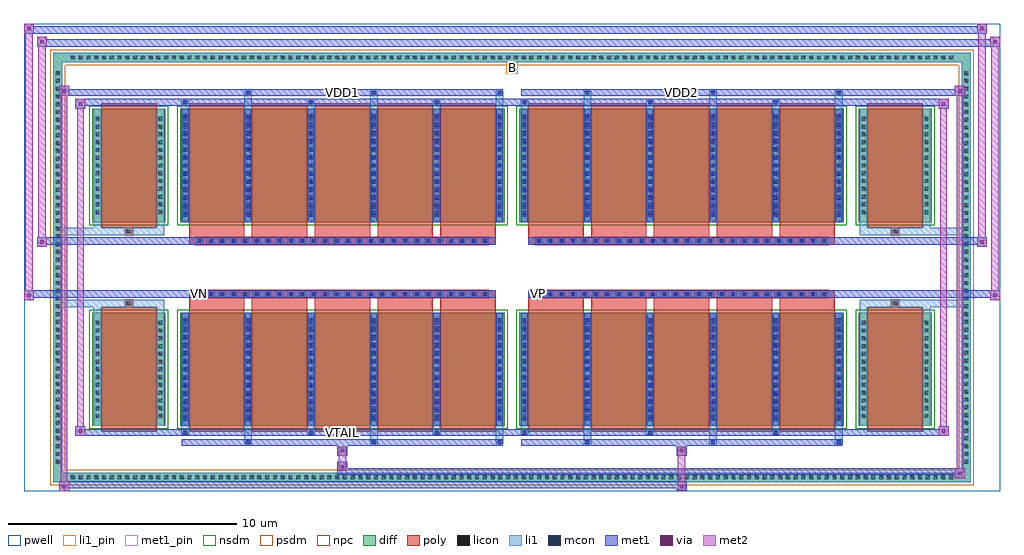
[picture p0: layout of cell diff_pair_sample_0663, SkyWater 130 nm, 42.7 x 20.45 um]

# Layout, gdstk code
import gdstk
lib = gdstk.Library(unit=1e-6, precision=5e-09)
def R(c, l, rs):  # rectangles x0, y0, x1, y1
    for r in rs: c.add(gdstk.rectangle(r[:2], r[2:], *l))
def A(c, l, x, y, w, h, nx, ny, dx, dy):  # array of equal rectangles
    R(c, l, [(x+i*dx, y+j*dy, x+i*dx+w, y+j*dy+h) for i in range(nx) for j in range(ny)])
def P(c, l, *ps):  # polygons
    for p in ps: c.add(gdstk.Polygon(p, *l))
pwell = (64, 44)
diff = (65, 20)
poly = (66, 20)
licon = (66, 44)
li1_pin = (67, 16)
li1 = (67, 20)
mcon = (67, 44)
met1_pin = (68, 16)
met1 = (68, 20)
via = (68, 44)
met2 = (69, 20)
nsdm = (93, 44)
psdm = (94, 20)
npc = (95, 20)

diff_pair_sample_0663 = lib.new_cell('diff_pair_sample_0663')
R(diff_pair_sample_0663, pwell, [(-21.35,-9.79,21.35,10.66), (-18.67,-7.98,-0.01,-0.8), (0.01,-7.98,18.67,-0.8), (-18.67,0.8,-0.01,7.98), (0.01,0.8,18.67,7.98)])
A(diff_pair_sample_0663, diff, -19.415, -9.39, 0.41, 0.41, 114, 2, 0.34, 18.37)
A(diff_pair_sample_0663, diff, -20.08, -8.705, 0.41, 0.41, 1, 51, 0, 0.34)
A(diff_pair_sample_0663, diff, 19.67, -8.705, 0.41, 0.41, 1, 51, 0, 0.34)
R(diff_pair_sample_0663, diff, [(-19.415,-9.39,19.415,-8.98), (-20.08,-8.705,-19.67,8.705), (19.67,-8.705,20.08,8.705), (-18.36,-6.935,-15.16,-1.985), (-14.52,-6.935,-0.32,-1.985), (0.32,-6.935,14.52,-1.985), (15.16,-6.935,18.36,-1.985), (-18.36,1.985,-15.16,6.935), (-14.52,1.985,-0.32,6.935), (0.32,1.985,14.52,6.935), (15.16,1.985,18.36,6.935), (-19.415,8.98,19.415,9.39)])
P(diff_pair_sample_0663, diff, [(20.08,9.39),(-20.08,9.39),(-20.08,-8.98),(-19.67,-8.98),(-19.67,8.98),(19.67,8.98),(19.67,-8.98),(-19.67,-8.98),(-20.08,-8.98),(-20.08,-9.39),(20.08,-9.39)])
A(diff_pair_sample_0663, poly, -14.13, -7.185, 2.42, 5.45, 5, 2, 2.75, 8.92)
A(diff_pair_sample_0663, poly, 0.71, -7.185, 2.42, 5.45, 5, 2, 2.75, 8.92)
A(diff_pair_sample_0663, poly, -14.13, -1.735, 2.42, 0.405, 5, 2, 2.75, 3.065)
A(diff_pair_sample_0663, poly, 0.71, -1.735, 2.42, 0.405, 5, 2, 2.75, 3.065)
A(diff_pair_sample_0663, poly, -13.835, -1.33, 0.33, 0.33, 26, 2, 0.5, 2.33)
A(diff_pair_sample_0663, poly, 1.005, -1.33, 0.33, 0.33, 26, 2, 0.5, 2.33)
R(diff_pair_sample_0663, poly, [(-17.97,-7.185,-15.55,-1.735), (15.55,-7.185,17.97,-1.735), (-16.925,-1.735,-16.595,-1.405), (-16.925,-1.735,-16.595,-1.405), (16.595,-1.735,16.925,-1.405), (16.595,-1.735,16.925,-1.405), (-14.13,-1.33,-0.71,-1), (0.71,-1.33,14.13,-1), (-14.13,1,-0.71,1.33), (0.71,1,14.13,1.33), (-16.925,1.405,-16.595,1.735), (-16.925,1.405,-16.595,1.735), (16.595,1.405,16.925,1.735), (16.595,1.405,16.925,1.735), (-17.97,1.735,-15.55,7.185), (15.55,1.735,17.97,7.185)])
A(diff_pair_sample_0663, licon, -19.295, -9.27, 0.17, 0.17, 114, 2, 0.34, 18.37)
A(diff_pair_sample_0663, licon, -19.96, -8.585, 0.17, 0.17, 1, 51, 0, 0.34)
A(diff_pair_sample_0663, licon, 19.79, -8.585, 0.17, 0.17, 1, 51, 0, 0.34)
A(diff_pair_sample_0663, licon, -18.22, -6.585, 0.17, 0.17, 1, 13, 0, 0.34)
A(diff_pair_sample_0663, licon, -15.47, -6.585, 0.17, 0.17, 1, 13, 0, 0.34)
A(diff_pair_sample_0663, licon, -14.38, -6.585, 0.17, 0.17, 6, 13, 2.75, 0.34)
A(diff_pair_sample_0663, licon, 0.46, -6.585, 0.17, 0.17, 6, 13, 2.75, 0.34)
A(diff_pair_sample_0663, licon, 15.3, -6.585, 0.17, 0.17, 1, 13, 0, 0.34)
A(diff_pair_sample_0663, licon, 18.05, -6.585, 0.17, 0.17, 1, 13, 0, 0.34)
A(diff_pair_sample_0663, licon, -13.755, -1.25, 0.17, 0.17, 26, 2, 0.5, 2.33)
A(diff_pair_sample_0663, licon, 1.085, -1.25, 0.17, 0.17, 26, 2, 0.5, 2.33)
A(diff_pair_sample_0663, licon, -18.22, 2.335, 0.17, 0.17, 1, 13, 0, 0.34)
A(diff_pair_sample_0663, licon, -15.47, 2.335, 0.17, 0.17, 1, 13, 0, 0.34)
A(diff_pair_sample_0663, licon, -14.38, 2.335, 0.17, 0.17, 6, 13, 2.75, 0.34)
A(diff_pair_sample_0663, licon, 0.46, 2.335, 0.17, 0.17, 6, 13, 2.75, 0.34)
A(diff_pair_sample_0663, licon, 15.3, 2.335, 0.17, 0.17, 1, 13, 0, 0.34)
A(diff_pair_sample_0663, licon, 18.05, 2.335, 0.17, 0.17, 1, 13, 0, 0.34)
R(diff_pair_sample_0663, licon, [(-16.845,-1.655,-16.675,-1.485), (16.675,-1.655,16.845,-1.485), (-16.845,1.485,-16.675,1.655), (16.675,1.485,16.845,1.655)])
R(diff_pair_sample_0663, li1_pin, [(-0.25,8.48,0.25,8.98)])
A(diff_pair_sample_0663, li1, -19.375, -9.35, 0.33, 0.33, 114, 2, 0.34, 18.37)
A(diff_pair_sample_0663, li1, -20.04, -8.665, 0.33, 0.33, 1, 51, 0, 0.34)
A(diff_pair_sample_0663, li1, 19.71, -8.665, 0.33, 0.33, 1, 51, 0, 0.34)
A(diff_pair_sample_0663, li1, -11.71, -7.74, 0.33, 0.805, 3, 2, 5.5, 14.675)
A(diff_pair_sample_0663, li1, -11.63, -7.74, 0.17, 0.17, 3, 2, 5.5, 15.31)
A(diff_pair_sample_0663, li1, 3.13, -7.74, 0.33, 0.805, 3, 2, 5.5, 14.675)
A(diff_pair_sample_0663, li1, 3.21, -7.74, 0.17, 0.17, 3, 2, 5.5, 15.31)
A(diff_pair_sample_0663, li1, -14.46, -7.31, 0.33, 0.375, 3, 2, 5.5, 14.245)
A(diff_pair_sample_0663, li1, -14.38, -7.31, 0.17, 0.17, 3, 2, 5.5, 14.45)
A(diff_pair_sample_0663, li1, 0.38, -7.31, 0.33, 0.375, 3, 2, 5.5, 14.245)
A(diff_pair_sample_0663, li1, 0.46, -7.31, 0.17, 0.17, 3, 2, 5.5, 14.45)
A(diff_pair_sample_0663, li1, -14.46, -6.935, 0.33, 4.95, 6, 2, 2.75, 8.92)
A(diff_pair_sample_0663, li1, 0.38, -6.935, 0.33, 4.95, 6, 2, 2.75, 8.92)
A(diff_pair_sample_0663, li1, -14.38, -6.705, 0.17, 0.17, 6, 13, 2.75, 0.36)
A(diff_pair_sample_0663, li1, -14.38, -6.705, 0.17, 4.49, 6, 2, 2.75, 8.92)
A(diff_pair_sample_0663, li1, 0.46, -6.705, 0.17, 0.17, 6, 13, 2.75, 0.36)
A(diff_pair_sample_0663, li1, 0.46, -6.705, 0.17, 4.49, 6, 2, 2.75, 8.92)
A(diff_pair_sample_0663, li1, -18.3, -6.665, 0.33, 0.33, 1, 13, 0, 0.34)
A(diff_pair_sample_0663, li1, -15.55, -6.665, 0.33, 0.33, 1, 13, 0, 0.34)
A(diff_pair_sample_0663, li1, -14.46, -6.665, 0.33, 0.33, 6, 13, 2.75, 0.34)
A(diff_pair_sample_0663, li1, 0.38, -6.665, 0.33, 0.33, 6, 13, 2.75, 0.34)
A(diff_pair_sample_0663, li1, 15.22, -6.665, 0.33, 0.33, 1, 13, 0, 0.34)
A(diff_pair_sample_0663, li1, 17.97, -6.665, 0.33, 0.33, 1, 13, 0, 0.34)
A(diff_pair_sample_0663, li1, -13.835, -1.33, 0.33, 0.33, 26, 2, 0.5, 2.33)
A(diff_pair_sample_0663, li1, 1.005, -1.33, 0.33, 0.33, 26, 2, 0.5, 2.33)
A(diff_pair_sample_0663, li1, -14.38, 2.215, 0.17, 0.17, 6, 13, 2.75, 0.36)
A(diff_pair_sample_0663, li1, 0.46, 2.215, 0.17, 0.17, 6, 13, 2.75, 0.36)
A(diff_pair_sample_0663, li1, -18.3, 2.255, 0.33, 0.33, 1, 13, 0, 0.34)
A(diff_pair_sample_0663, li1, -15.55, 2.255, 0.33, 0.33, 1, 13, 0, 0.34)
A(diff_pair_sample_0663, li1, -14.46, 2.255, 0.33, 0.33, 6, 13, 2.75, 0.34)
A(diff_pair_sample_0663, li1, 0.38, 2.255, 0.33, 0.33, 6, 13, 2.75, 0.34)
A(diff_pair_sample_0663, li1, 15.22, 2.255, 0.33, 0.33, 1, 13, 0, 0.34)
A(diff_pair_sample_0663, li1, 17.97, 2.255, 0.33, 0.33, 1, 13, 0, 0.34)
R(diff_pair_sample_0663, li1, [(-20.08,-9.39,-19.67,-8.98), (-20.08,-9.39,-19.67,-8.98), (-19.67,-9.39,19.67,-8.98), (19.67,-9.39,20.08,-8.98), (19.67,-9.39,20.08,-8.98), (-20.08,-8.98,-19.67,8.98), (19.67,-8.98,20.08,8.98), (-18.3,-6.935,-17.97,-1.985), (-15.55,-6.935,-15.22,-1.985), (15.22,-6.935,15.55,-1.985), (17.97,-6.935,18.3,-1.985), (-18.3,-1.985,-17.97,-1.405), (-15.55,-1.985,-15.22,-1.405), (15.22,-1.985,15.55,-1.405), (17.97,-1.985,18.3,-1.405), (-20.08,-1.735,-16.925,-1.405), (-18.3,-1.735,-16.925,-1.405), (-16.925,-1.735,-16.595,-1.405), (-16.595,-1.735,-15.22,-1.405), (15.22,-1.735,16.595,-1.405), (16.595,-1.735,16.925,-1.405), (16.595,-1.735,20.08,-1.405), (16.925,-1.735,18.3,-1.405), (-20.08,1.405,-16.925,1.735), (-18.3,1.405,-16.925,1.735), (-18.3,1.405,-17.97,1.985), (-16.925,1.405,-16.595,1.735), (-16.595,1.405,-15.22,1.735), (-15.55,1.405,-15.22,1.985), (15.22,1.405,16.595,1.735), (15.22,1.405,15.55,1.985), (16.595,1.405,16.925,1.735), (16.595,1.405,20.08,1.735), (16.925,1.405,18.3,1.735), (17.97,1.405,18.3,1.985), (-18.3,1.985,-17.97,6.935), (-15.55,1.985,-15.22,6.935), (15.22,1.985,15.55,6.935), (17.97,1.985,18.3,6.935), (-20.08,8.98,-19.67,9.39), (-20.08,8.98,-19.67,9.39), (-19.67,8.98,19.67,9.39), (19.67,8.98,20.08,9.39), (19.67,8.98,20.08,9.39)])
A(diff_pair_sample_0663, mcon, -11.63, -7.74, 0.17, 0.17, 3, 2, 5.5, 15.31)
A(diff_pair_sample_0663, mcon, 3.21, -7.74, 0.17, 0.17, 3, 2, 5.5, 15.31)
A(diff_pair_sample_0663, mcon, -14.38, -7.31, 0.17, 0.17, 3, 2, 5.5, 14.45)
A(diff_pair_sample_0663, mcon, 0.46, -7.31, 0.17, 0.17, 3, 2, 5.5, 14.45)
A(diff_pair_sample_0663, mcon, -14.38, -6.705, 0.17, 0.17, 6, 13, 2.75, 0.36)
A(diff_pair_sample_0663, mcon, 0.46, -6.705, 0.17, 0.17, 6, 13, 2.75, 0.36)
A(diff_pair_sample_0663, mcon, -13.755, -1.25, 0.17, 0.17, 26, 2, 0.5, 2.33)
A(diff_pair_sample_0663, mcon, 1.085, -1.25, 0.17, 0.17, 26, 2, 0.5, 2.33)
A(diff_pair_sample_0663, mcon, -14.38, 2.215, 0.17, 0.17, 6, 13, 2.75, 0.36)
A(diff_pair_sample_0663, mcon, 0.46, 2.215, 0.17, 0.17, 6, 13, 2.75, 0.36)
R(diff_pair_sample_0663, met1_pin, [(-7.555,-7.35,-7.285,-7.08), (-13.805,-1.29,-13.535,-1.02), (1.035,-1.29,1.305,-1.02), (-7.555,7.53,-7.285,7.8), (7.285,7.53,7.555,7.8)])
A(diff_pair_sample_0663, met1, -11.69, -7.8, 0.29, 0.29, 3, 2, 5.5, 15.31)
A(diff_pair_sample_0663, met1, 3.15, -7.8, 0.29, 0.29, 3, 2, 5.5, 15.31)
A(diff_pair_sample_0663, met1, -14.44, -7.37, 0.29, 0.29, 3, 2, 5.5, 14.45)
A(diff_pair_sample_0663, met1, 0.4, -7.37, 0.29, 0.29, 3, 2, 5.5, 14.45)
A(diff_pair_sample_0663, met1, -14.44, -6.935, 0.29, 4.95, 6, 2, 2.75, 8.92)
A(diff_pair_sample_0663, met1, 0.4, -6.935, 0.29, 4.95, 6, 2, 2.75, 8.92)
A(diff_pair_sample_0663, met1, -14.44, -6.765, 0.29, 0.29, 6, 13, 2.75, 0.36)
A(diff_pair_sample_0663, met1, 0.4, -6.765, 0.29, 0.29, 6, 13, 2.75, 0.36)
A(diff_pair_sample_0663, met1, -13.815, -1.31, 0.29, 0.29, 26, 2, 0.5, 2.33)
A(diff_pair_sample_0663, met1, 1.025, -1.31, 0.29, 0.29, 26, 2, 0.5, 2.33)
A(diff_pair_sample_0663, met1, -14.44, 2.155, 0.29, 0.29, 6, 13, 2.75, 0.36)
A(diff_pair_sample_0663, met1, 0.4, 2.155, 0.29, 0.29, 6, 13, 2.75, 0.36)
R(diff_pair_sample_0663, met1, [(-19.81,-9.79,-19.38,-9.36), (7.205,-9.79,7.635,-9.36), (-19.81,-9.65,7.635,-9.36), (19.38,-9.22,19.81,-8.79), (-7.635,-9.08,19.81,-8.79), (-7.635,-8.94,-7.205,-8.51), (-7.635,-8.23,-7.205,-7.8), (7.205,-8.23,7.635,-7.8), (-14.44,-7.8,-0.4,-7.51), (0.4,-7.8,14.44,-7.51), (-19.1,-7.37,-18.67,-6.94), (-19.1,-7.37,-14.44,-7.08), (-14.44,-7.37,-0.4,-7.08), (-0.4,-7.37,0.4,-7.08), (0.4,-7.37,14.44,-7.08), (14.44,-7.37,19.1,-7.08), (18.67,-7.37,19.1,-6.94), (-21.35,-1.43,-20.92,-1), (20.92,-1.43,21.35,-1), (-21.35,-1.33,-0.71,-1), (-14.13,-1.33,-0.71,-1), (0.71,-1.33,14.13,-1), (0.71,-1.33,21.35,-1), (-20.78,0.9,-20.35,1.33), (20.35,0.9,20.78,1.33), (-20.78,1,-14.13,1.33), (-14.13,1,-0.71,1.33), (0.71,1,14.13,1.33), (14.13,1,20.78,1.33), (-19.1,6.94,-18.67,7.37), (18.67,6.94,19.1,7.37), (-19.1,7.08,-14.44,7.37), (-14.44,7.08,-0.4,7.37), (-0.4,7.08,0.4,7.37), (0.4,7.08,14.44,7.37), (14.44,7.08,19.1,7.37), (-19.81,7.51,-19.38,7.94), (-19.81,7.51,-14.44,7.8), (-14.44,7.51,-0.4,7.8), (0.4,7.51,14.44,7.8), (14.44,7.51,19.81,7.8), (19.38,7.51,19.81,7.94), (-20.78,9.66,-20.35,10.09), (-20.78,9.66,-18.67,9.99), (-18.67,9.66,18.67,9.99), (18.67,9.66,21.35,9.99), (20.92,9.66,21.35,10.09), (-21.35,10.23,-20.92,10.66), (-21.35,10.23,-18.67,10.56), (-18.67,10.23,18.67,10.56), (18.67,10.23,20.78,10.56), (20.35,10.23,20.78,10.66)])
R(diff_pair_sample_0663, via, [(-19.67,-9.65,-19.52,-9.5), (7.345,-9.65,7.495,-9.5), (19.52,-9.08,19.67,-8.93), (-7.495,-8.8,-7.345,-8.65), (-7.495,-8.09,-7.345,-7.94), (7.345,-8.09,7.495,-7.94), (-18.96,-7.23,-18.81,-7.08), (18.81,-7.23,18.96,-7.08), (-21.21,-1.29,-21.06,-1.14), (21.06,-1.29,21.21,-1.14), (-20.64,1.04,-20.49,1.19), (20.49,1.04,20.64,1.19), (-18.96,7.08,-18.81,7.23), (18.81,7.08,18.96,7.23), (-19.67,7.65,-19.52,7.8), (19.52,7.65,19.67,7.8), (-20.64,9.8,-20.49,9.95), (21.06,9.8,21.21,9.95), (-21.21,10.37,-21.06,10.52), (20.49,10.37,20.64,10.52)])
R(diff_pair_sample_0663, met2, [(-19.81,-9.79,-19.38,-9.36), (-19.74,-9.79,-19.45,7.94), (-19.45,-9.79,-19.38,-9.36), (-19.76,-9.74,-19.43,-9.41), (7.255,-9.74,7.585,-9.41), (7.255,-9.41,7.585,-8.18), (19.38,-9.22,19.81,-8.79), (19.45,-9.22,19.74,7.94), (19.74,-9.22,19.81,-8.79), (19.43,-9.17,19.76,-8.84), (-7.585,-8.89,-7.255,-8.56), (-7.585,-8.56,-7.255,-8.18), (-7.585,-8.18,-7.255,-7.85), (7.255,-8.18,7.585,-7.85), (-19.1,-7.37,-18.67,-6.94), (-19.03,-7.37,-18.74,7.37), (-18.74,-7.37,-18.67,-6.94), (18.67,-7.37,19.1,-6.94), (18.74,-7.37,19.03,7.37), (19.03,-7.37,19.1,-6.94), (-19.05,-7.32,-18.72,-6.99), (18.72,-7.32,19.05,-6.99), (-21.35,-1.43,-20.92,-1), (-21.3,-1.43,-20.97,10.66), (-20.97,-1.43,-20.92,-1), (20.92,-1.43,21.35,-1), (20.97,-1.43,21.3,10.09), (21.3,-1.43,21.35,-1), (-21.3,-1.38,-20.97,-1.05), (20.97,-1.38,21.3,-1.05), (-20.78,0.9,-20.35,1.33), (-20.73,0.9,-20.4,10.09), (-20.4,0.9,-20.35,1.33), (20.35,0.9,20.78,1.33), (20.4,0.9,20.73,10.66), (20.73,0.9,20.78,1.33), (-20.73,0.95,-20.4,1.28), (20.4,0.95,20.73,1.28), (-19.1,6.94,-18.67,7.37), (-18.74,6.94,-18.67,7.37), (18.67,6.94,19.1,7.37), (19.03,6.94,19.1,7.37), (-19.05,6.99,-18.72,7.32), (18.72,6.99,19.05,7.32), (-19.81,7.51,-19.38,7.94), (-19.45,7.51,-19.38,7.94), (19.38,7.51,19.81,7.94), (19.74,7.51,19.81,7.94), (-19.76,7.56,-19.43,7.89), (19.43,7.56,19.76,7.89), (-20.78,9.66,-20.35,10.09), (-20.4,9.66,-20.35,10.09), (20.92,9.66,21.35,10.09), (21.3,9.66,21.35,10.09), (-20.73,9.71,-20.4,10.04), (20.97,9.71,21.3,10.04), (-21.35,10.23,-20.92,10.66), (-20.97,10.23,-20.92,10.66), (20.35,10.23,20.78,10.66), (20.73,10.23,20.78,10.66), (-21.3,10.28,-20.97,10.61), (20.4,10.28,20.73,10.61)])
R(diff_pair_sample_0663, nsdm, [(-18.49,-7.065,-15.03,-1.855), (-14.65,-7.065,-0.19,-1.855), (0.19,-7.065,14.65,-1.855), (15.03,-7.065,18.49,-1.855), (-18.49,1.855,-15.03,7.065), (-14.65,1.855,-0.19,7.065), (0.19,1.855,14.65,7.065), (15.03,1.855,18.49,7.065)])
P(diff_pair_sample_0663, psdm, [(20.21,9.52),(-20.21,9.52),(-20.21,-8.85),(-19.54,-8.85),(-19.54,8.85),(19.54,8.85),(19.54,-8.85),(-19.54,-8.85),(-20.21,-8.85),(-20.21,-9.52),(20.21,-9.52)])
A(diff_pair_sample_0663, npc, -13.855, -1.35, 0.37, 0.37, 26, 2, 0.5, 2.33)
A(diff_pair_sample_0663, npc, 0.985, -1.35, 0.37, 0.37, 26, 2, 0.5, 2.33)
R(diff_pair_sample_0663, npc, [(-16.945,-1.755,-16.575,-1.385), (16.575,-1.755,16.945,-1.385), (-13.855,-1.35,-12.985,-0.98), (-13.855,-1.35,-12.985,-0.98), (-13.355,-1.35,-12.485,-0.98), (-13.355,-1.35,-12.485,-0.98), (-12.855,-1.35,-11.985,-0.98), (-12.855,-1.35,-11.985,-0.98), (-12.355,-1.35,-11.485,-0.98), (-12.355,-1.35,-11.485,-0.98), (-11.855,-1.35,-10.985,-0.98), (-11.855,-1.35,-10.985,-0.98), (-11.355,-1.35,-10.485,-0.98), (-11.355,-1.35,-10.485,-0.98), (-10.855,-1.35,-9.985,-0.98), (-10.855,-1.35,-9.985,-0.98), (-10.355,-1.35,-9.485,-0.98), (-10.355,-1.35,-9.485,-0.98), (-9.855,-1.35,-8.985,-0.98), (-9.855,-1.35,-8.985,-0.98), (-9.355,-1.35,-8.485,-0.98), (-9.355,-1.35,-8.485,-0.98), (-8.855,-1.35,-7.985,-0.98), (-8.855,-1.35,-7.985,-0.98), (-8.355,-1.35,-7.485,-0.98), (-8.355,-1.35,-7.485,-0.98), (-7.855,-1.35,-6.985,-0.98), (-7.855,-1.35,-6.985,-0.98), (-7.355,-1.35,-6.485,-0.98), (-7.355,-1.35,-6.485,-0.98), (-6.855,-1.35,-5.985,-0.98), (-6.855,-1.35,-5.985,-0.98), (-6.355,-1.35,-5.485,-0.98), (-6.355,-1.35,-5.485,-0.98), (-5.855,-1.35,-4.985,-0.98), (-5.855,-1.35,-4.985,-0.98), (-5.355,-1.35,-4.485,-0.98), (-5.355,-1.35,-4.485,-0.98), (-4.855,-1.35,-3.985,-0.98), (-4.855,-1.35,-3.985,-0.98), (-4.355,-1.35,-3.485,-0.98), (-4.355,-1.35,-3.485,-0.98), (-3.855,-1.35,-2.985,-0.98), (-3.855,-1.35,-2.985,-0.98), (-3.355,-1.35,-2.485,-0.98), (-3.355,-1.35,-2.485,-0.98), (-2.855,-1.35,-1.985,-0.98), (-2.855,-1.35,-1.985,-0.98), (-2.355,-1.35,-1.485,-0.98), (-2.355,-1.35,-1.485,-0.98), (-1.855,-1.35,-0.985,-0.98), (-1.855,-1.35,-0.985,-0.98), (0.985,-1.35,1.855,-0.98), (0.985,-1.35,1.855,-0.98), (1.485,-1.35,2.355,-0.98), (1.485,-1.35,2.355,-0.98), (1.985,-1.35,2.855,-0.98), (1.985,-1.35,2.855,-0.98), (2.485,-1.35,3.355,-0.98), (2.485,-1.35,3.355,-0.98), (2.985,-1.35,3.855,-0.98), (2.985,-1.35,3.855,-0.98), (3.485,-1.35,4.355,-0.98), (3.485,-1.35,4.355,-0.98), (3.985,-1.35,4.855,-0.98), (3.985,-1.35,4.855,-0.98), (4.485,-1.35,5.355,-0.98), (4.485,-1.35,5.355,-0.98), (4.985,-1.35,5.855,-0.98), (4.985,-1.35,5.855,-0.98), (5.485,-1.35,6.355,-0.98), (5.485,-1.35,6.355,-0.98), (5.985,-1.35,6.855,-0.98), (5.985,-1.35,6.855,-0.98), (6.485,-1.35,7.355,-0.98), (6.485,-1.35,7.355,-0.98), (6.985,-1.35,7.855,-0.98), (6.985,-1.35,7.855,-0.98), (7.485,-1.35,8.355,-0.98), (7.485,-1.35,8.355,-0.98), (7.985,-1.35,8.855,-0.98), (7.985,-1.35,8.855,-0.98), (8.485,-1.35,9.355,-0.98), (8.485,-1.35,9.355,-0.98), (8.985,-1.35,9.855,-0.98), (8.985,-1.35,9.855,-0.98), (9.485,-1.35,10.355,-0.98), (9.485,-1.35,10.355,-0.98), (9.985,-1.35,10.855,-0.98), (9.985,-1.35,10.855,-0.98), (10.485,-1.35,11.355,-0.98), (10.485,-1.35,11.355,-0.98), (10.985,-1.35,11.855,-0.98), (10.985,-1.35,11.855,-0.98), (11.485,-1.35,12.355,-0.98), (11.485,-1.35,12.355,-0.98), (11.985,-1.35,12.855,-0.98), (11.985,-1.35,12.855,-0.98), (12.485,-1.35,13.355,-0.98), (12.485,-1.35,13.355,-0.98), (12.985,-1.35,13.855,-0.98), (12.985,-1.35,13.855,-0.98), (-13.855,0.98,-12.985,1.35), (-13.855,0.98,-12.985,1.35), (-13.355,0.98,-12.485,1.35), (-13.355,0.98,-12.485,1.35), (-12.855,0.98,-11.985,1.35), (-12.855,0.98,-11.985,1.35), (-12.355,0.98,-11.485,1.35), (-12.355,0.98,-11.485,1.35), (-11.855,0.98,-10.985,1.35), (-11.855,0.98,-10.985,1.35), (-11.355,0.98,-10.485,1.35), (-11.355,0.98,-10.485,1.35), (-10.855,0.98,-9.985,1.35), (-10.855,0.98,-9.985,1.35), (-10.355,0.98,-9.485,1.35), (-10.355,0.98,-9.485,1.35), (-9.855,0.98,-8.985,1.35), (-9.855,0.98,-8.985,1.35), (-9.355,0.98,-8.485,1.35), (-9.355,0.98,-8.485,1.35), (-8.855,0.98,-7.985,1.35), (-8.855,0.98,-7.985,1.35), (-8.355,0.98,-7.485,1.35), (-8.355,0.98,-7.485,1.35), (-7.855,0.98,-6.985,1.35), (-7.855,0.98,-6.985,1.35), (-7.355,0.98,-6.485,1.35), (-7.355,0.98,-6.485,1.35), (-6.855,0.98,-5.985,1.35), (-6.855,0.98,-5.985,1.35), (-6.355,0.98,-5.485,1.35), (-6.355,0.98,-5.485,1.35), (-5.855,0.98,-4.985,1.35), (-5.855,0.98,-4.985,1.35), (-5.355,0.98,-4.485,1.35), (-5.355,0.98,-4.485,1.35), (-4.855,0.98,-3.985,1.35), (-4.855,0.98,-3.985,1.35), (-4.355,0.98,-3.485,1.35), (-4.355,0.98,-3.485,1.35), (-3.855,0.98,-2.985,1.35), (-3.855,0.98,-2.985,1.35), (-3.355,0.98,-2.485,1.35), (-3.355,0.98,-2.485,1.35), (-2.855,0.98,-1.985,1.35), (-2.855,0.98,-1.985,1.35), (-2.355,0.98,-1.485,1.35), (-2.355,0.98,-1.485,1.35), (-1.855,0.98,-0.985,1.35), (-1.855,0.98,-0.985,1.35), (0.985,0.98,1.855,1.35), (0.985,0.98,1.855,1.35), (1.485,0.98,2.355,1.35), (1.485,0.98,2.355,1.35), (1.985,0.98,2.855,1.35), (1.985,0.98,2.855,1.35), (2.485,0.98,3.355,1.35), (2.485,0.98,3.355,1.35), (2.985,0.98,3.855,1.35), (2.985,0.98,3.855,1.35), (3.485,0.98,4.355,1.35), (3.485,0.98,4.355,1.35), (3.985,0.98,4.855,1.35), (3.985,0.98,4.855,1.35), (4.485,0.98,5.355,1.35), (4.485,0.98,5.355,1.35), (4.985,0.98,5.855,1.35), (4.985,0.98,5.855,1.35), (5.485,0.98,6.355,1.35), (5.485,0.98,6.355,1.35), (5.985,0.98,6.855,1.35), (5.985,0.98,6.855,1.35), (6.485,0.98,7.355,1.35), (6.485,0.98,7.355,1.35), (6.985,0.98,7.855,1.35), (6.985,0.98,7.855,1.35), (7.485,0.98,8.355,1.35), (7.485,0.98,8.355,1.35), (7.985,0.98,8.855,1.35), (7.985,0.98,8.855,1.35), (8.485,0.98,9.355,1.35), (8.485,0.98,9.355,1.35), (8.985,0.98,9.855,1.35), (8.985,0.98,9.855,1.35), (9.485,0.98,10.355,1.35), (9.485,0.98,10.355,1.35), (9.985,0.98,10.855,1.35), (9.985,0.98,10.855,1.35), (10.485,0.98,11.355,1.35), (10.485,0.98,11.355,1.35), (10.985,0.98,11.855,1.35), (10.985,0.98,11.855,1.35), (11.485,0.98,12.355,1.35), (11.485,0.98,12.355,1.35), (11.985,0.98,12.855,1.35), (11.985,0.98,12.855,1.35), (12.485,0.98,13.355,1.35), (12.485,0.98,13.355,1.35), (12.985,0.98,13.855,1.35), (12.985,0.98,13.855,1.35), (-16.945,1.385,-16.575,1.755), (16.575,1.385,16.945,1.755)])
diff_pair_sample_0663.add(gdstk.Label('VTAIL', (-7.42,-7.215), layer=68, texttype=5))
diff_pair_sample_0663.add(gdstk.Label('VN', (-13.67,-1.155), layer=68, texttype=5))
diff_pair_sample_0663.add(gdstk.Label('VP', (1.17,-1.155), layer=68, texttype=5))
diff_pair_sample_0663.add(gdstk.Label('B', (0,8.73), layer=67, texttype=5))
diff_pair_sample_0663.add(gdstk.Label('VDD2', (7.42,7.665), layer=68, texttype=5))
diff_pair_sample_0663.add(gdstk.Label('VDD1', (-7.42,7.665), layer=68, texttype=5))

lib.write_gds('diff_pair_sample_0663.gds')
